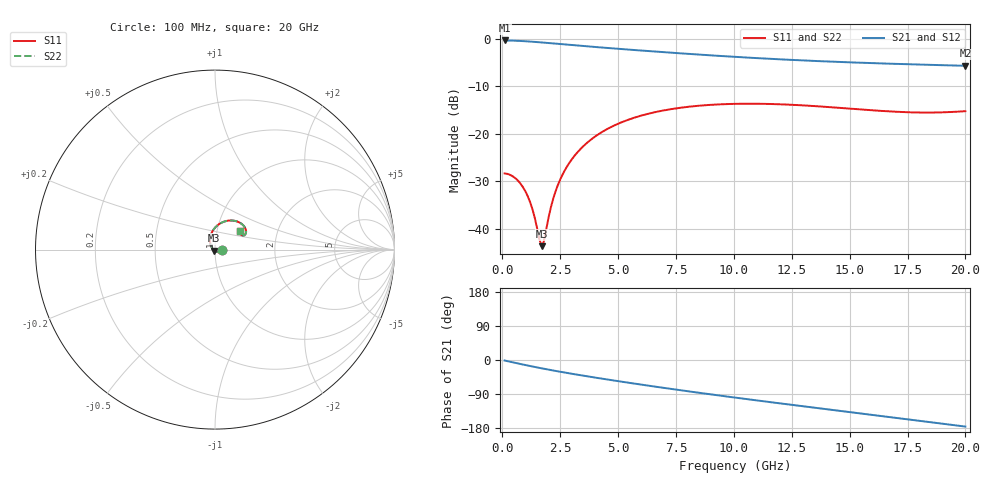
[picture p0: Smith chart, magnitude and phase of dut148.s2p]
! Created with skrf 1.9.0 (http://scikit-rf.org).
# GHz S RI R 50.0
!freq ReS11 ImS11 ReS21 ImS21 ReS12 ImS12 ReS22 ImS22
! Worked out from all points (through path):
!   200 points, 100 MHz to 20 GHz, reference 50 ohm
!   highest |S21| = -0.34 dB at 100 MHz (marker M1); lowest = -5.7 dB at 20 GHz (marker M2)
!   group delay of S21, straight-line fit = 23.4 ps
!   lowest |S11| = -43.6 dB at 1.7 GHz (marker M3), VSWR 1.01, Z = 49.6 - j0.532 ohm
!   |S11| at or under -10 dB: start of sweep to end of sweep
!   |S22| runs from -43.6 to -13.7 dB; largest |S21 - S12| = 2.8e-15
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0.1  0.0382 -0.00219  0.9611 -0.0229  0.9611 -0.0229  0.0382 -0.00219
0.6  0.0315 -0.0115  0.9447 -0.135  0.9447 -0.135  0.0315 -0.0115
1  0.0201 -0.0145  0.9176 -0.2179  0.9176 -0.2179  0.0201 -0.0145
1.3  0.00982 -0.0128  0.8911 -0.2748  0.8911 -0.2748  0.00982 -0.0128
1.4  0.00633 -0.0115  0.8813 -0.2927  0.8813 -0.2927  0.00633 -0.0115
1.6  -0.000516 -0.00775  0.8606 -0.3267  0.8606 -0.3267  -0.000516 -0.00775
1.7  -0.0038 -0.00536  0.8498 -0.3429  0.8498 -0.3429  -0.0038 -0.00536
1.8  -0.00694 -0.00265  0.8387 -0.3586  0.8387 -0.3586  -0.00694 -0.00265
2.1  -0.0153 0.00718  0.804 -0.4025  0.804 -0.4025  -0.0153 0.00718
2.4  -0.0217 0.019  0.768 -0.442  0.768 -0.442  -0.0217 0.019
2.6  -0.0248 0.0277  0.7435 -0.4661  0.7435 -0.4661  -0.0248 0.0277
2.9  -0.0275 0.0414  0.7061 -0.4991  0.7061 -0.4991  -0.0275 0.0414
3.5  -0.0263 0.0693  0.6305 -0.5555  0.6305 -0.5555  -0.0263 0.0693
4.1  -0.0176 0.0955  0.5545 -0.6005  0.5545 -0.6005  -0.0176 0.0955
4.9  0.00245 0.1245  0.4538 -0.6453  0.4538 -0.6453  0.00245 0.1245
5.8  0.0315 0.1471  0.3429 -0.6774  0.3429 -0.6774  0.0315 0.1471
6.8  0.0662 0.16  0.2246 -0.6933  0.2246 -0.6933  0.0662 0.16
8.3  0.1134 0.1595  0.0614 -0.6848  0.0614 -0.6848  0.1134 0.1595
10.1  0.1528 0.1396  -0.1074 -0.636  -0.1074 -0.636  0.1528 0.1396
13.4  0.1727 0.0939  -0.3384 -0.4788  -0.3384 -0.4788  0.1727 0.0939
16.7  0.1534 0.0785  -0.476 -0.2711  -0.476 -0.2711  0.1534 0.0785
20  0.1398 0.1023  -0.5188 -0.0392  -0.5188 -0.0392  0.1398 0.1023
